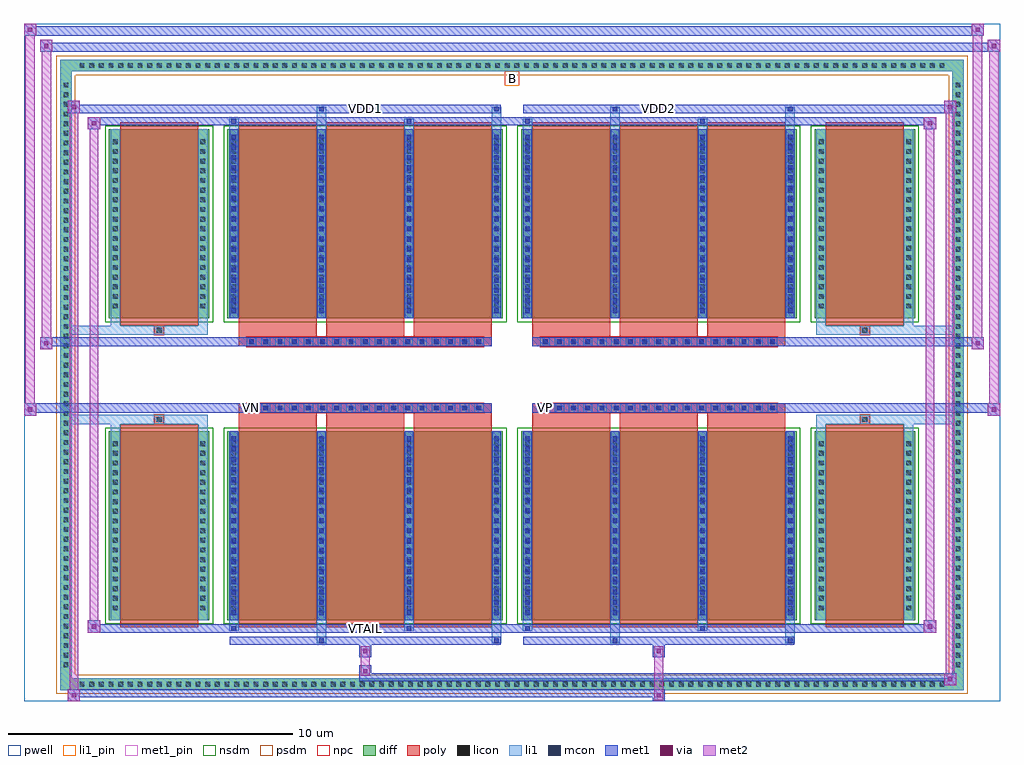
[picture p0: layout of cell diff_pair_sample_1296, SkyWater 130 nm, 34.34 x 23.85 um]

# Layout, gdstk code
import gdstk
lib = gdstk.Library(unit=1e-6, precision=5e-09)
def R(c, l, rs):  # rectangles x0, y0, x1, y1
    for r in rs: c.add(gdstk.rectangle(r[:2], r[2:], *l))
def A(c, l, x, y, w, h, nx, ny, dx, dy):  # array of equal rectangles
    R(c, l, [(x+i*dx, y+j*dy, x+i*dx+w, y+j*dy+h) for i in range(nx) for j in range(ny)])
def P(c, l, *ps):  # polygons
    for p in ps: c.add(gdstk.Polygon(p, *l))
pwell = (64, 44)
diff = (65, 20)
poly = (66, 20)
licon = (66, 44)
li1_pin = (67, 16)
li1 = (67, 20)
mcon = (67, 44)
met1_pin = (68, 16)
met1 = (68, 20)
via = (68, 44)
met2 = (69, 20)
nsdm = (93, 44)
psdm = (94, 20)
npc = (95, 20)

diff_pair_sample_1296 = lib.new_cell('diff_pair_sample_1296')
R(diff_pair_sample_1296, pwell, [(-17.17,-11.49,17.17,12.36), (-14.49,-9.68,-0.01,-0.8), (0.01,-9.68,14.49,-0.8), (-14.49,0.8,-0.01,9.68), (0.01,0.8,14.49,9.68)])
A(diff_pair_sample_1296, diff, -15.335, -11.09, 0.41, 0.41, 90, 2, 0.34, 21.77)
A(diff_pair_sample_1296, diff, -15.9, -10.405, 0.41, 0.41, 1, 61, 0, 0.34)
A(diff_pair_sample_1296, diff, 15.49, -10.405, 0.41, 0.41, 1, 61, 0, 0.34)
R(diff_pair_sample_1296, diff, [(-15.335,-11.09,15.335,-10.68), (-15.9,-10.405,-15.49,10.405), (15.49,-10.405,15.9,10.405), (-14.18,-8.635,-10.65,-1.985), (-10.01,-8.635,-0.32,-1.985), (0.32,-8.635,10.01,-1.985), (10.65,-8.635,14.18,-1.985), (-14.18,1.985,-10.65,8.635), (-10.01,1.985,-0.32,8.635), (0.32,1.985,10.01,8.635), (10.65,1.985,14.18,8.635), (-15.335,10.68,15.335,11.09)])
P(diff_pair_sample_1296, diff, [(15.9,11.09),(-15.9,11.09),(-15.9,-10.68),(-15.49,-10.68),(-15.49,10.68),(15.49,10.68),(15.49,-10.68),(-15.49,-10.68),(-15.9,-10.68),(-15.9,-11.09),(15.9,-11.09)])
A(diff_pair_sample_1296, poly, -9.62, -8.885, 2.75, 7.15, 3, 2, 3.08, 10.62)
A(diff_pair_sample_1296, poly, 0.71, -8.885, 2.75, 7.15, 3, 2, 3.08, 10.62)
A(diff_pair_sample_1296, poly, -9.62, -1.735, 2.75, 0.405, 3, 2, 3.08, 3.065)
A(diff_pair_sample_1296, poly, 0.71, -1.735, 2.75, 0.405, 3, 2, 3.08, 3.065)
A(diff_pair_sample_1296, poly, -9.33, -1.33, 0.33, 0.33, 17, 2, 0.5, 2.33)
A(diff_pair_sample_1296, poly, 1, -1.33, 0.33, 0.33, 17, 2, 0.5, 2.33)
R(diff_pair_sample_1296, poly, [(-13.79,-8.885,-11.04,-1.735), (11.04,-8.885,13.79,-1.735), (-12.58,-1.735,-12.25,-1.405), (-12.58,-1.735,-12.25,-1.405), (12.25,-1.735,12.58,-1.405), (12.25,-1.735,12.58,-1.405), (-9.62,-1.33,-0.71,-1), (0.71,-1.33,9.62,-1), (-9.62,1,-0.71,1.33), (0.71,1,9.62,1.33), (-12.58,1.405,-12.25,1.735), (-12.58,1.405,-12.25,1.735), (12.25,1.405,12.58,1.735), (12.25,1.405,12.58,1.735), (-13.79,1.735,-11.04,8.885), (11.04,1.735,13.79,8.885)])
A(diff_pair_sample_1296, licon, -15.215, -10.97, 0.17, 0.17, 90, 2, 0.34, 21.77)
A(diff_pair_sample_1296, licon, -15.78, -10.285, 0.17, 0.17, 1, 61, 0, 0.34)
A(diff_pair_sample_1296, licon, 15.61, -10.285, 0.17, 0.17, 1, 61, 0, 0.34)
A(diff_pair_sample_1296, licon, -14.04, -8.285, 0.17, 0.17, 1, 18, 0, 0.34)
A(diff_pair_sample_1296, licon, -10.96, -8.285, 0.17, 0.17, 1, 18, 0, 0.34)
A(diff_pair_sample_1296, licon, -9.87, -8.285, 0.17, 0.17, 4, 18, 3.08, 0.34)
A(diff_pair_sample_1296, licon, 0.46, -8.285, 0.17, 0.17, 4, 18, 3.08, 0.34)
A(diff_pair_sample_1296, licon, 10.79, -8.285, 0.17, 0.17, 1, 18, 0, 0.34)
A(diff_pair_sample_1296, licon, 13.87, -8.285, 0.17, 0.17, 1, 18, 0, 0.34)
A(diff_pair_sample_1296, licon, -9.25, -1.25, 0.17, 0.17, 17, 2, 0.5, 2.33)
A(diff_pair_sample_1296, licon, 1.08, -1.25, 0.17, 0.17, 17, 2, 0.5, 2.33)
A(diff_pair_sample_1296, licon, -14.04, 2.335, 0.17, 0.17, 1, 18, 0, 0.34)
A(diff_pair_sample_1296, licon, -10.96, 2.335, 0.17, 0.17, 1, 18, 0, 0.34)
A(diff_pair_sample_1296, licon, -9.87, 2.335, 0.17, 0.17, 4, 18, 3.08, 0.34)
A(diff_pair_sample_1296, licon, 0.46, 2.335, 0.17, 0.17, 4, 18, 3.08, 0.34)
A(diff_pair_sample_1296, licon, 10.79, 2.335, 0.17, 0.17, 1, 18, 0, 0.34)
A(diff_pair_sample_1296, licon, 13.87, 2.335, 0.17, 0.17, 1, 18, 0, 0.34)
R(diff_pair_sample_1296, licon, [(-12.5,-1.655,-12.33,-1.485), (12.33,-1.655,12.5,-1.485), (-12.5,1.485,-12.33,1.655), (12.33,1.485,12.5,1.655)])
R(diff_pair_sample_1296, li1_pin, [(-0.25,10.18,0.25,10.68)])
A(diff_pair_sample_1296, li1, -15.295, -11.05, 0.33, 0.33, 90, 2, 0.34, 21.77)
A(diff_pair_sample_1296, li1, -15.86, -10.365, 0.33, 0.33, 1, 61, 0, 0.34)
A(diff_pair_sample_1296, li1, 15.53, -10.365, 0.33, 0.33, 1, 61, 0, 0.34)
A(diff_pair_sample_1296, li1, -9.95, -8.635, 0.33, 6.65, 4, 2, 3.08, 10.62)
A(diff_pair_sample_1296, li1, 0.38, -8.635, 0.33, 6.65, 4, 2, 3.08, 10.62)
A(diff_pair_sample_1296, li1, -9.87, -8.455, 0.17, 0.17, 4, 18, 3.08, 0.36)
A(diff_pair_sample_1296, li1, -9.87, -8.455, 0.17, 6.29, 4, 2, 3.08, 10.62)
A(diff_pair_sample_1296, li1, 0.46, -8.455, 0.17, 0.17, 4, 18, 3.08, 0.36)
A(diff_pair_sample_1296, li1, 0.46, -8.455, 0.17, 6.29, 4, 2, 3.08, 10.62)
A(diff_pair_sample_1296, li1, -14.12, -8.365, 0.33, 0.33, 1, 18, 0, 0.34)
A(diff_pair_sample_1296, li1, -11.04, -8.365, 0.33, 0.33, 1, 18, 0, 0.34)
A(diff_pair_sample_1296, li1, -9.95, -8.365, 0.33, 0.33, 4, 18, 3.08, 0.34)
A(diff_pair_sample_1296, li1, 0.38, -8.365, 0.33, 0.33, 4, 18, 3.08, 0.34)
A(diff_pair_sample_1296, li1, 10.71, -8.365, 0.33, 0.33, 1, 18, 0, 0.34)
A(diff_pair_sample_1296, li1, 13.79, -8.365, 0.33, 0.33, 1, 18, 0, 0.34)
A(diff_pair_sample_1296, li1, -9.33, -1.33, 0.33, 0.33, 17, 2, 0.5, 2.33)
A(diff_pair_sample_1296, li1, 1, -1.33, 0.33, 0.33, 17, 2, 0.5, 2.33)
A(diff_pair_sample_1296, li1, -9.87, 2.165, 0.17, 0.17, 4, 18, 3.08, 0.36)
A(diff_pair_sample_1296, li1, 0.46, 2.165, 0.17, 0.17, 4, 18, 3.08, 0.36)
A(diff_pair_sample_1296, li1, -14.12, 2.255, 0.33, 0.33, 1, 18, 0, 0.34)
A(diff_pair_sample_1296, li1, -11.04, 2.255, 0.33, 0.33, 1, 18, 0, 0.34)
A(diff_pair_sample_1296, li1, -9.95, 2.255, 0.33, 0.33, 4, 18, 3.08, 0.34)
A(diff_pair_sample_1296, li1, 0.38, 2.255, 0.33, 0.33, 4, 18, 3.08, 0.34)
A(diff_pair_sample_1296, li1, 10.71, 2.255, 0.33, 0.33, 1, 18, 0, 0.34)
A(diff_pair_sample_1296, li1, 13.79, 2.255, 0.33, 0.33, 1, 18, 0, 0.34)
R(diff_pair_sample_1296, li1, [(-15.9,-11.09,-15.49,-10.68), (-15.9,-11.09,-15.49,-10.68), (-15.49,-11.09,15.49,-10.68), (15.49,-11.09,15.9,-10.68), (15.49,-11.09,15.9,-10.68), (-15.9,-10.68,-15.49,10.68), (15.49,-10.68,15.9,10.68), (-6.87,-9.44,-6.54,-8.635), (-6.79,-9.44,-6.62,-9.27), (-0.71,-9.44,-0.38,-8.635), (-0.63,-9.44,-0.46,-9.27), (3.46,-9.44,3.79,-8.635), (3.54,-9.44,3.71,-9.27), (9.62,-9.44,9.95,-8.635), (9.7,-9.44,9.87,-9.27), (-9.95,-9.01,-9.62,-8.635), (-9.87,-9.01,-9.7,-8.84), (-3.79,-9.01,-3.46,-8.635), (-3.71,-9.01,-3.54,-8.84), (0.38,-9.01,0.71,-8.635), (0.46,-9.01,0.63,-8.84), (6.54,-9.01,6.87,-8.635), (6.62,-9.01,6.79,-8.84), (-14.12,-8.635,-13.79,-1.985), (-11.04,-8.635,-10.71,-1.985), (10.71,-8.635,11.04,-1.985), (13.79,-8.635,14.12,-1.985), (-14.12,-1.985,-13.79,-1.405), (-11.04,-1.985,-10.71,-1.405), (10.71,-1.985,11.04,-1.405), (13.79,-1.985,14.12,-1.405), (-15.9,-1.735,-12.58,-1.405), (-14.12,-1.735,-12.58,-1.405), (-12.58,-1.735,-12.25,-1.405), (-12.25,-1.735,-10.71,-1.405), (10.71,-1.735,12.25,-1.405), (12.25,-1.735,12.58,-1.405), (12.25,-1.735,15.9,-1.405), (12.58,-1.735,14.12,-1.405), (-15.9,1.405,-12.58,1.735), (-14.12,1.405,-12.58,1.735), (-14.12,1.405,-13.79,1.985), (-12.58,1.405,-12.25,1.735), (-12.25,1.405,-10.71,1.735), (-11.04,1.405,-10.71,1.985), (10.71,1.405,12.25,1.735), (10.71,1.405,11.04,1.985), (12.25,1.405,12.58,1.735), (12.25,1.405,15.9,1.735), (12.58,1.405,14.12,1.735), (13.79,1.405,14.12,1.985), (-14.12,1.985,-13.79,8.635), (-11.04,1.985,-10.71,8.635), (10.71,1.985,11.04,8.635), (13.79,1.985,14.12,8.635), (-9.95,8.635,-9.62,9.01), (-6.87,8.635,-6.54,9.44), (-3.79,8.635,-3.46,9.01), (-0.71,8.635,-0.38,9.44), (0.38,8.635,0.71,9.01), (3.46,8.635,3.79,9.44), (6.54,8.635,6.87,9.01), (9.62,8.635,9.95,9.44), (-9.87,8.84,-9.7,9.01), (-3.71,8.84,-3.54,9.01), (0.46,8.84,0.63,9.01), (6.62,8.84,6.79,9.01), (-6.79,9.27,-6.62,9.44), (-0.63,9.27,-0.46,9.44), (3.54,9.27,3.71,9.44), (9.7,9.27,9.87,9.44), (-15.9,10.68,-15.49,11.09), (-15.9,10.68,-15.49,11.09), (-15.49,10.68,15.49,11.09), (15.49,10.68,15.9,11.09), (15.49,10.68,15.9,11.09)])
A(diff_pair_sample_1296, mcon, -9.87, -8.455, 0.17, 0.17, 4, 18, 3.08, 0.36)
A(diff_pair_sample_1296, mcon, 0.46, -8.455, 0.17, 0.17, 4, 18, 3.08, 0.36)
A(diff_pair_sample_1296, mcon, -9.25, -1.25, 0.17, 0.17, 17, 2, 0.5, 2.33)
A(diff_pair_sample_1296, mcon, 1.08, -1.25, 0.17, 0.17, 17, 2, 0.5, 2.33)
A(diff_pair_sample_1296, mcon, -9.87, 2.165, 0.17, 0.17, 4, 18, 3.08, 0.36)
A(diff_pair_sample_1296, mcon, 0.46, 2.165, 0.17, 0.17, 4, 18, 3.08, 0.36)
R(diff_pair_sample_1296, mcon, [(-6.79,-9.44,-6.62,-9.27), (-0.63,-9.44,-0.46,-9.27), (3.54,-9.44,3.71,-9.27), (9.7,-9.44,9.87,-9.27), (-9.87,-9.01,-9.7,-8.84), (-3.71,-9.01,-3.54,-8.84), (0.46,-9.01,0.63,-8.84), (6.62,-9.01,6.79,-8.84), (-9.87,8.84,-9.7,9.01), (-3.71,8.84,-3.54,9.01), (0.46,8.84,0.63,9.01), (6.62,8.84,6.79,9.01), (-6.79,9.27,-6.62,9.44), (-0.63,9.27,-0.46,9.44), (3.54,9.27,3.71,9.44), (9.7,9.27,9.87,9.44)])
R(diff_pair_sample_1296, met1_pin, [(-5.3,-9.05,-5.03,-8.78), (-9.3,-1.29,-9.03,-1.02), (1.03,-1.29,1.3,-1.02), (-5.3,9.23,-5.03,9.5), (5.03,9.23,5.3,9.5)])
A(diff_pair_sample_1296, met1, -9.93, -8.635, 0.29, 6.65, 4, 2, 3.08, 10.62)
A(diff_pair_sample_1296, met1, 0.4, -8.635, 0.29, 6.65, 4, 2, 3.08, 10.62)
A(diff_pair_sample_1296, met1, -9.93, -8.515, 0.29, 0.29, 4, 18, 3.08, 0.36)
A(diff_pair_sample_1296, met1, 0.4, -8.515, 0.29, 0.29, 4, 18, 3.08, 0.36)
A(diff_pair_sample_1296, met1, -9.31, -1.31, 0.29, 0.29, 17, 2, 0.5, 2.33)
A(diff_pair_sample_1296, met1, 1.02, -1.31, 0.29, 0.29, 17, 2, 0.5, 2.33)
A(diff_pair_sample_1296, met1, -9.93, 2.105, 0.29, 0.29, 4, 18, 3.08, 0.36)
A(diff_pair_sample_1296, met1, 0.4, 2.105, 0.29, 0.29, 4, 18, 3.08, 0.36)
R(diff_pair_sample_1296, met1, [(-15.63,-11.49,-15.2,-11.06), (4.95,-11.49,5.38,-11.06), (-15.63,-11.35,5.38,-11.06), (15.2,-10.92,15.63,-10.49), (-5.38,-10.78,15.63,-10.49), (-5.38,-10.64,-4.95,-10.21), (-5.38,-9.93,-4.95,-9.5), (4.95,-9.93,5.38,-9.5), (-9.93,-9.5,-0.4,-9.21), (-6.85,-9.5,-6.56,-9.21), (-0.69,-9.5,-0.4,-9.21), (0.4,-9.5,9.93,-9.21), (3.48,-9.5,3.77,-9.21), (9.64,-9.5,9.93,-9.21), (-14.92,-9.07,-14.49,-8.64), (-14.92,-9.07,-9.93,-8.78), (-9.93,-9.07,-9.64,-8.78), (-9.93,-9.07,-0.4,-8.78), (-3.77,-9.07,-3.48,-8.78), (-0.4,-9.07,0.4,-8.78), (0.4,-9.07,0.69,-8.78), (0.4,-9.07,9.93,-8.78), (6.56,-9.07,6.85,-8.78), (9.93,-9.07,14.92,-8.78), (14.49,-9.07,14.92,-8.64), (-17.17,-1.43,-16.74,-1), (16.74,-1.43,17.17,-1), (-17.17,-1.33,-0.71,-1), (-9.62,-1.33,-0.71,-1), (0.71,-1.33,9.62,-1), (0.71,-1.33,17.17,-1), (-16.6,0.9,-16.17,1.33), (16.17,0.9,16.6,1.33), (-16.6,1,-9.62,1.33), (-9.62,1,-0.71,1.33), (0.71,1,9.62,1.33), (9.62,1,16.6,1.33), (-14.92,8.64,-14.49,9.07), (14.49,8.64,14.92,9.07), (-14.92,8.78,-9.93,9.07), (-9.93,8.78,-9.64,9.07), (-9.93,8.78,-0.4,9.07), (-3.77,8.78,-3.48,9.07), (-0.4,8.78,0.4,9.07), (0.4,8.78,0.69,9.07), (0.4,8.78,9.93,9.07), (6.56,8.78,6.85,9.07), (9.93,8.78,14.92,9.07), (-15.63,9.21,-15.2,9.64), (-15.63,9.21,-9.93,9.5), (-9.93,9.21,-0.4,9.5), (-6.85,9.21,-6.56,9.5), (-0.69,9.21,-0.4,9.5), (0.4,9.21,9.93,9.5), (3.48,9.21,3.77,9.5), (9.64,9.21,9.93,9.5), (9.93,9.21,15.63,9.5), (15.2,9.21,15.63,9.64), (-16.6,11.36,-16.17,11.79), (-16.6,11.36,-14.49,11.69), (-14.49,11.36,14.49,11.69), (14.49,11.36,17.17,11.69), (16.74,11.36,17.17,11.79), (-17.17,11.93,-16.74,12.36), (-17.17,11.93,-14.49,12.26), (-14.49,11.93,14.49,12.26), (14.49,11.93,16.6,12.26), (16.17,11.93,16.6,12.36)])
R(diff_pair_sample_1296, via, [(-15.49,-11.35,-15.34,-11.2), (5.09,-11.35,5.24,-11.2), (15.34,-10.78,15.49,-10.63), (-5.24,-10.5,-5.09,-10.35), (-5.24,-9.79,-5.09,-9.64), (5.09,-9.79,5.24,-9.64), (-14.78,-8.93,-14.63,-8.78), (14.63,-8.93,14.78,-8.78), (-17.03,-1.29,-16.88,-1.14), (16.88,-1.29,17.03,-1.14), (-16.46,1.04,-16.31,1.19), (16.31,1.04,16.46,1.19), (-14.78,8.78,-14.63,8.93), (14.63,8.78,14.78,8.93), (-15.49,9.35,-15.34,9.5), (15.34,9.35,15.49,9.5), (-16.46,11.5,-16.31,11.65), (16.88,11.5,17.03,11.65), (-17.03,12.07,-16.88,12.22), (16.31,12.07,16.46,12.22)])
R(diff_pair_sample_1296, met2, [(-15.63,-11.49,-15.2,-11.06), (-15.56,-11.49,-15.27,9.64), (-15.27,-11.49,-15.2,-11.06), (-15.58,-11.44,-15.25,-11.11), (5,-11.44,5.33,-11.11), (5,-11.11,5.33,-9.88), (15.2,-10.92,15.63,-10.49), (15.27,-10.92,15.56,9.64), (15.56,-10.92,15.63,-10.49), (15.25,-10.87,15.58,-10.54), (-5.33,-10.59,-5,-10.26), (-5.33,-10.26,-5,-9.88), (-5.33,-9.88,-5,-9.55), (5,-9.88,5.33,-9.55), (-14.92,-9.07,-14.49,-8.64), (-14.85,-9.07,-14.56,9.07), (-14.56,-9.07,-14.49,-8.64), (14.49,-9.07,14.92,-8.64), (14.56,-9.07,14.85,9.07), (14.85,-9.07,14.92,-8.64), (-14.87,-9.02,-14.54,-8.69), (14.54,-9.02,14.87,-8.69), (-17.17,-1.43,-16.74,-1), (-17.12,-1.43,-16.79,12.36), (-16.79,-1.43,-16.74,-1), (16.74,-1.43,17.17,-1), (16.79,-1.43,17.12,11.79), (17.12,-1.43,17.17,-1), (-17.12,-1.38,-16.79,-1.05), (16.79,-1.38,17.12,-1.05), (-16.6,0.9,-16.17,1.33), (-16.55,0.9,-16.22,11.79), (-16.22,0.9,-16.17,1.33), (16.17,0.9,16.6,1.33), (16.22,0.9,16.55,12.36), (16.55,0.9,16.6,1.33), (-16.55,0.95,-16.22,1.28), (16.22,0.95,16.55,1.28), (-14.92,8.64,-14.49,9.07), (-14.56,8.64,-14.49,9.07), (14.49,8.64,14.92,9.07), (14.85,8.64,14.92,9.07), (-14.87,8.69,-14.54,9.02), (14.54,8.69,14.87,9.02), (-15.63,9.21,-15.2,9.64), (-15.27,9.21,-15.2,9.64), (15.2,9.21,15.63,9.64), (15.56,9.21,15.63,9.64), (-15.58,9.26,-15.25,9.59), (15.25,9.26,15.58,9.59), (-16.6,11.36,-16.17,11.79), (-16.22,11.36,-16.17,11.79), (16.74,11.36,17.17,11.79), (17.12,11.36,17.17,11.79), (-16.55,11.41,-16.22,11.74), (16.79,11.41,17.12,11.74), (-17.17,11.93,-16.74,12.36), (-16.79,11.93,-16.74,12.36), (16.17,11.93,16.6,12.36), (16.55,11.93,16.6,12.36), (-17.12,11.98,-16.79,12.31), (16.22,11.98,16.55,12.31)])
R(diff_pair_sample_1296, nsdm, [(-14.31,-8.765,-10.52,-1.855), (-10.14,-8.765,-0.19,-1.855), (0.19,-8.765,10.14,-1.855), (10.52,-8.765,14.31,-1.855), (-14.31,1.855,-10.52,8.765), (-10.14,1.855,-0.19,8.765), (0.19,1.855,10.14,8.765), (10.52,1.855,14.31,8.765)])
P(diff_pair_sample_1296, psdm, [(16.03,11.22),(-16.03,11.22),(-16.03,-10.55),(-15.36,-10.55),(-15.36,10.55),(15.36,10.55),(15.36,-10.55),(-15.36,-10.55),(-16.03,-10.55),(-16.03,-11.22),(16.03,-11.22)])
A(diff_pair_sample_1296, npc, -9.35, -1.35, 0.37, 0.37, 17, 2, 0.5, 2.33)
A(diff_pair_sample_1296, npc, 0.98, -1.35, 0.37, 0.37, 17, 2, 0.5, 2.33)
R(diff_pair_sample_1296, npc, [(-12.6,-1.755,-12.23,-1.385), (12.23,-1.755,12.6,-1.385), (-9.35,-1.35,-8.48,-0.98), (-9.35,-1.35,-8.48,-0.98), (-8.85,-1.35,-7.98,-0.98), (-8.85,-1.35,-7.98,-0.98), (-8.35,-1.35,-7.48,-0.98), (-8.35,-1.35,-7.48,-0.98), (-7.85,-1.35,-6.98,-0.98), (-7.85,-1.35,-6.98,-0.98), (-7.35,-1.35,-6.48,-0.98), (-7.35,-1.35,-6.48,-0.98), (-6.85,-1.35,-5.98,-0.98), (-6.85,-1.35,-5.98,-0.98), (-6.35,-1.35,-5.48,-0.98), (-6.35,-1.35,-5.48,-0.98), (-5.85,-1.35,-4.98,-0.98), (-5.85,-1.35,-4.98,-0.98), (-5.35,-1.35,-4.48,-0.98), (-5.35,-1.35,-4.48,-0.98), (-4.85,-1.35,-3.98,-0.98), (-4.85,-1.35,-3.98,-0.98), (-4.35,-1.35,-3.48,-0.98), (-4.35,-1.35,-3.48,-0.98), (-3.85,-1.35,-2.98,-0.98), (-3.85,-1.35,-2.98,-0.98), (-3.35,-1.35,-2.48,-0.98), (-3.35,-1.35,-2.48,-0.98), (-2.85,-1.35,-1.98,-0.98), (-2.85,-1.35,-1.98,-0.98), (-2.35,-1.35,-1.48,-0.98), (-2.35,-1.35,-1.48,-0.98), (-1.85,-1.35,-0.98,-0.98), (-1.85,-1.35,-0.98,-0.98), (0.98,-1.35,1.85,-0.98), (0.98,-1.35,1.85,-0.98), (1.48,-1.35,2.35,-0.98), (1.48,-1.35,2.35,-0.98), (1.98,-1.35,2.85,-0.98), (1.98,-1.35,2.85,-0.98), (2.48,-1.35,3.35,-0.98), (2.48,-1.35,3.35,-0.98), (2.98,-1.35,3.85,-0.98), (2.98,-1.35,3.85,-0.98), (3.48,-1.35,4.35,-0.98), (3.48,-1.35,4.35,-0.98), (3.98,-1.35,4.85,-0.98), (3.98,-1.35,4.85,-0.98), (4.48,-1.35,5.35,-0.98), (4.48,-1.35,5.35,-0.98), (4.98,-1.35,5.85,-0.98), (4.98,-1.35,5.85,-0.98), (5.48,-1.35,6.35,-0.98), (5.48,-1.35,6.35,-0.98), (5.98,-1.35,6.85,-0.98), (5.98,-1.35,6.85,-0.98), (6.48,-1.35,7.35,-0.98), (6.48,-1.35,7.35,-0.98), (6.98,-1.35,7.85,-0.98), (6.98,-1.35,7.85,-0.98), (7.48,-1.35,8.35,-0.98), (7.48,-1.35,8.35,-0.98), (7.98,-1.35,8.85,-0.98), (7.98,-1.35,8.85,-0.98), (8.48,-1.35,9.35,-0.98), (8.48,-1.35,9.35,-0.98), (-9.35,0.98,-8.48,1.35), (-9.35,0.98,-8.48,1.35), (-8.85,0.98,-7.98,1.35), (-8.85,0.98,-7.98,1.35), (-8.35,0.98,-7.48,1.35), (-8.35,0.98,-7.48,1.35), (-7.85,0.98,-6.98,1.35), (-7.85,0.98,-6.98,1.35), (-7.35,0.98,-6.48,1.35), (-7.35,0.98,-6.48,1.35), (-6.85,0.98,-5.98,1.35), (-6.85,0.98,-5.98,1.35), (-6.35,0.98,-5.48,1.35), (-6.35,0.98,-5.48,1.35), (-5.85,0.98,-4.98,1.35), (-5.85,0.98,-4.98,1.35), (-5.35,0.98,-4.48,1.35), (-5.35,0.98,-4.48,1.35), (-4.85,0.98,-3.98,1.35), (-4.85,0.98,-3.98,1.35), (-4.35,0.98,-3.48,1.35), (-4.35,0.98,-3.48,1.35), (-3.85,0.98,-2.98,1.35), (-3.85,0.98,-2.98,1.35), (-3.35,0.98,-2.48,1.35), (-3.35,0.98,-2.48,1.35), (-2.85,0.98,-1.98,1.35), (-2.85,0.98,-1.98,1.35), (-2.35,0.98,-1.48,1.35), (-2.35,0.98,-1.48,1.35), (-1.85,0.98,-0.98,1.35), (-1.85,0.98,-0.98,1.35), (0.98,0.98,1.85,1.35), (0.98,0.98,1.85,1.35), (1.48,0.98,2.35,1.35), (1.48,0.98,2.35,1.35), (1.98,0.98,2.85,1.35), (1.98,0.98,2.85,1.35), (2.48,0.98,3.35,1.35), (2.48,0.98,3.35,1.35), (2.98,0.98,3.85,1.35), (2.98,0.98,3.85,1.35), (3.48,0.98,4.35,1.35), (3.48,0.98,4.35,1.35), (3.98,0.98,4.85,1.35), (3.98,0.98,4.85,1.35), (4.48,0.98,5.35,1.35), (4.48,0.98,5.35,1.35), (4.98,0.98,5.85,1.35), (4.98,0.98,5.85,1.35), (5.48,0.98,6.35,1.35), (5.48,0.98,6.35,1.35), (5.98,0.98,6.85,1.35), (5.98,0.98,6.85,1.35), (6.48,0.98,7.35,1.35), (6.48,0.98,7.35,1.35), (6.98,0.98,7.85,1.35), (6.98,0.98,7.85,1.35), (7.48,0.98,8.35,1.35), (7.48,0.98,8.35,1.35), (7.98,0.98,8.85,1.35), (7.98,0.98,8.85,1.35), (8.48,0.98,9.35,1.35), (8.48,0.98,9.35,1.35), (-12.6,1.385,-12.23,1.755), (12.23,1.385,12.6,1.755)])
diff_pair_sample_1296.add(gdstk.Label('VTAIL', (-5.165,-8.915), layer=68, texttype=5))
diff_pair_sample_1296.add(gdstk.Label('VN', (-9.165,-1.155), layer=68, texttype=5))
diff_pair_sample_1296.add(gdstk.Label('VP', (1.165,-1.155), layer=68, texttype=5))
diff_pair_sample_1296.add(gdstk.Label('B', (0,10.43), layer=67, texttype=5))
diff_pair_sample_1296.add(gdstk.Label('VDD2', (5.165,9.365), layer=68, texttype=5))
diff_pair_sample_1296.add(gdstk.Label('VDD1', (-5.165,9.365), layer=68, texttype=5))

lib.write_gds('diff_pair_sample_1296.gds')
